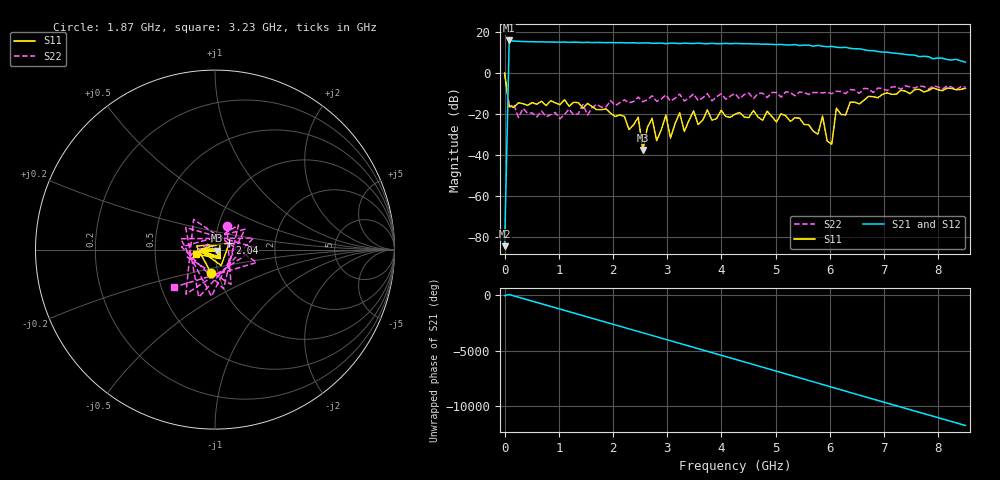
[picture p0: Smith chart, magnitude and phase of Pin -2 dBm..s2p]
! RsaToolbox (C) 2013 Rohde & Schwarz America
! Number of points: 101
! Number of ports: 2
! Balanced ports?: 0
# Hz S RI R 50
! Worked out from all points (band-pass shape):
!   101 points, 9 kHz to 8.5 GHz, reference 50 ohm
!   highest |S21| = 16.02 dB at 85.01 MHz (marker M1); lowest = -84.7 dB at 9 kHz (marker M2)
!   |S21| within 3 dB of the highest: 82.48 MHz to 5.924 GHz (5.842 GHz wide, 195 % of centre); 5.988 GHz to 6.056 GHz (68.04 MHz wide, 1.13 % of centre)
!   lowest |S11| = -37.6 dB at 2.55 GHz (marker M3), VSWR 1.03, Z = 51.2 - j0.537 ohm
!   |S11| at or under -10 dB: 52.74 MHz to 7.012 GHz (6.959 GHz wide, 197 % of centre); 7.1 GHz to 7.239 GHz (139.1 MHz wide, 1.94 % of centre); 7.477989 GHz to 7.48118 GHz (3.191 MHz wide, 0.0427 % of centre)
!   |S22| runs from -22.4 to 0.1 dB; largest |S21 - S12| = 0
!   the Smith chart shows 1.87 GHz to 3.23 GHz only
!   S11 on the Smith chart (normalised r, x): 1.87 GHz: 0.93, -0.25; 2.04 GHz: 1.17, +0.08; 3.23 GHz: 0.81, -0.04
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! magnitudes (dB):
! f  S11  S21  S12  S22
! 9 kHz  0.0  -84.7  -84.7  0.1
! 85.01 MHz  -16.1  16.0  16.0  -16.6
! 1.445 GHz  -17.1  15.0  15.0  -15.3
! 1.87 GHz  -17.5  14.9  14.9  -16.6
! 2.04 GHz  -21.2  14.9  14.9  -15.9
! 2.465 GHz  -21.6  14.8  14.8  -11.7
! 2.55 GHz  -37.6  14.8  14.8  -14.0
! 2.72 GHz  -22.1  14.6  14.6  -11.1
! 2.805 GHz  -33.1  14.7  14.7  -13.8
! 2.89 GHz  -27.7  14.8  14.8  -12.7
! 2.975 GHz  -20.6  14.5  14.5  -10.6
! 3.06 GHz  -31.8  14.7  14.7  -13.7
! 3.23 GHz  -19.4  14.5  14.5  -10.2
! 3.315 GHz  -28.6  14.7  14.7  -13.6
! 3.485 GHz  -18.5  14.5  14.5  -10.2
! 4.25 GHz  -20.0  14.5  14.5  -9.9
! 5.695 GHz  -28.5  13.2  13.2  -9.5
! 5.865 GHz  -21.0  13.2  13.2  -9.6
! 6.035 GHz  -34.8  13.1  13.1  -10.1
! 6.12 GHz  -17.1  12.7  12.7  -8.8
! 7.14 GHz  -10.3  9.9  9.9  -6.8
! 8.5 GHz  -7.4  5.4  5.4  -6.7
